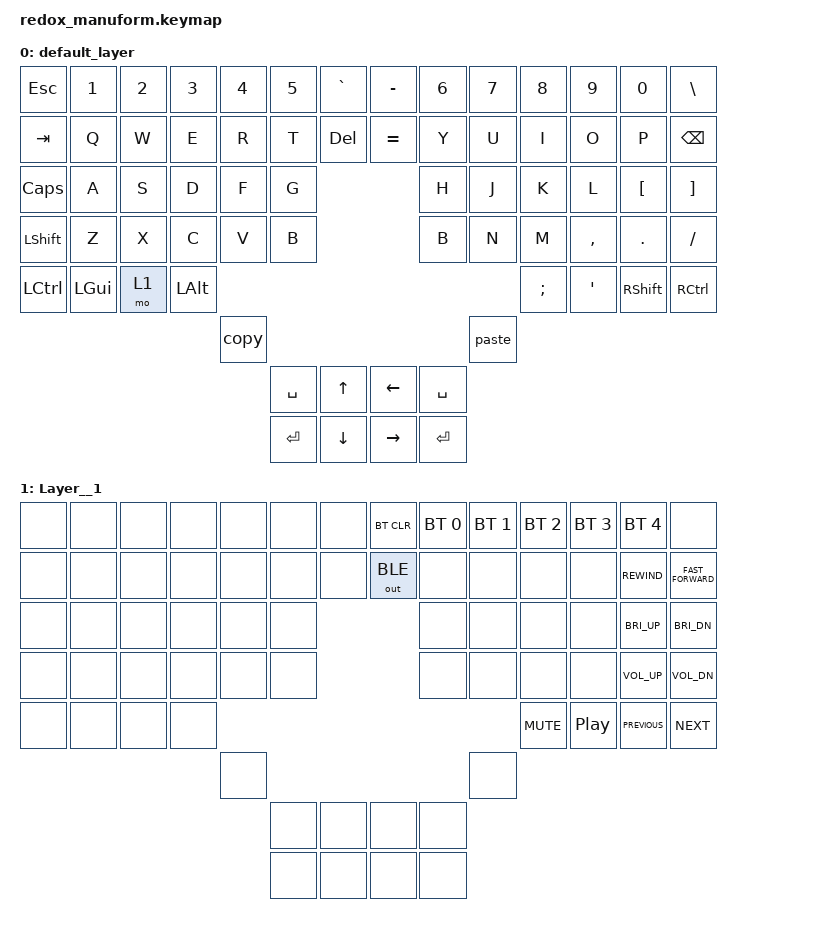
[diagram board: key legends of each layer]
/*
 * Copyright (c) 2021 The ZMK Contributors
 *
 * SPDX-License-Identifier: MIT
 */

#include <behaviors.dtsi>
#include <dt-bindings/zmk/bt.h>
#include <dt-bindings/zmk/keys.h>
#include <dt-bindings/zmk/outputs.h>

/ {
    macros {
        copy: copy {
            label = "fuzhi";
            compatible = "zmk,behavior-macro";
            #binding-cells = <0>;
            bindings =
                <&macro_press>,
                <&kp LEFT_GUI>,
                <&macro_tap>,
                <&kp C>,
                <&macro_release>,
                <&kp LEFT_GUI>;
        };
        cut: cut {
            compatible = "zmk,behavior-macro";
            label = "jianqie";
            #binding-cells = <0>;
            bindings =
                <&macro_press>,
                <&kp LCTRL>,
                <&macro_tap>,
                <&kp X>,
                <&macro_release>,
                <&kp LCTRL>;
        };
        paste: paste {
            compatible = "zmk,behavior-macro";
            label = "zhantie";
            #binding-cells = <0>;
            bindings =
                <&macro_press>,
                <&kp LEFT_GUI>,
                <&macro_tap>,
                <&kp V>,
                <&macro_release>,
                <&kp LEFT_GUI>;
        };
        all: all {
            compatible = "zmk,behavior-macro";
            label = "quanxuan";
            #binding-cells = <0>;
            bindings =
                <&macro_press>,
                <&kp LCTRL>,
                <&macro_tap>,
                <&kp A>,
                <&macro_release>,
                <&kp LCTRL>;
        };
        home: home {
            compatible = "zmk,behavior-macro";
            label = "zhuomian";
            #binding-cells = <0>;
            bindings =
                <&macro_press>,
                <&kp LEFT_GUI>,
                <&macro_tap>,
                <&kp D>,
                <&macro_release>,
                <&kp LEFT_GUI>;
        };
        print: print {
            compatible = "zmk,behavior-macro";
            label = "jietu";
            #binding-cells = <0>;
            bindings =
                <&macro_press>,
                <&kp LEFT_GUI &kp LSHFT>,
                <&macro_tap>,
                <&kp S>,
                <&macro_release>,
                <&kp LEFT_GUI &kp LSHFT>;
        };
    };

    keymap {
        compatible = "zmk,keymap";

        default_layer {
            // --------------------------------------------------------------------------------------------------------------------------------
            // | ESC   |  1  |  2  |   3   |  4  |  5  |   (   |           ---           |  )    |  6  |  7  |  8    |  9   | 0  |    BKSP   |
            // | TAB   |  Q  |  W  |   E   |  R  |  T  |   [   |           ---           |  ]    |  Y  |  U  |  I    |  O   | P  |     -     |
            // | CTRL  |  A  |  S  |   D   |  F  |  G  |                   ---                   |  H  |  J  |  K    |  L   | ;  |     '     |
            // | SHIFT |  Z  |  X  |   C   |  V  |  B  |                   ---                   |  N  |  M  |  ,    |  .   | /  | SHFT(RET) |
            // | CRTL  | ALT | GUI | LOWER |                               ---                               | LEFT  | DOWN | UP |   RIGHT   |
            //                             |    GUI    |                   ---                   |   RAISE   |
            //                             |   PG_up   | SPACE |           ---           |  HOME |   SPACE   |   
            //                             |   PG_DOWN | LOWER |           ---           |  DEL  |   END     |

            bindings = <
     &kp ESC        &kp N1  &kp N2    &kp N3  &kp N4     &kp N5   &kp GRAVE  &kp MINUS     &kp N6  &kp N7    &kp N8     &kp N9           &kp N0       &kp BSLH
     &kp TAB         &kp Q   &kp W     &kp E   &kp R      &kp T  &kp DELETE  &kp EQUAL      &kp Y   &kp U     &kp I      &kp O            &kp P  &kp BACKSPACE
&kp CAPSLOCK         &kp A   &kp S     &kp D   &kp F      &kp G                             &kp H   &kp J     &kp K      &kp L         &kp LBKT       &kp RBKT
   &kp LSHFT         &kp Z   &kp X     &kp C   &kp V      &kp B                             &kp B   &kp N     &kp M  &kp COMMA          &kp DOT       &kp FSLH
   &kp LCTRL  &kp LEFT_GUI   &mo 1  &kp LALT                                                               &kp SEMI    &kp SQT  &kp RIGHT_SHIFT      &kp RCTRL
                                               &copy                                               &paste
                                                      &kp SPACE      &kp UP   &kp LEFT  &kp SPACE
                                                      &kp ENTER    &kp DOWN  &kp RIGHT  &kp ENTER
            >;
        };

        Layer__1 {
            bindings = <
&none  &none  &none  &none  &none  &none  &none    &bt BT_CLR  &bt BT_SEL 0  &bt BT_SEL 1  &bt BT_SEL 2      &bt BT_SEL 3    &bt BT_SEL 4               &none
&none  &none  &none  &none  &none  &none  &none  &out OUT_BLE         &none         &none         &none             &none    &kp C_REWIND  &kp C_FAST_FORWARD
&none  &none  &none  &none  &none  &none                              &none         &none         &none             &none    &kp C_BRI_UP        &kp C_BRI_DN
&none  &none  &none  &none  &none  &none                              &none         &none         &none             &none    &kp C_VOL_UP        &kp C_VOL_DN
&none  &none  &none  &none                                                                   &kp C_MUTE  &kp C_PLAY_PAUSE  &kp C_PREVIOUS          &kp C_NEXT
                            &none                                                   &none
                                   &none  &none         &none         &none
                                   &none  &none         &none         &none
            >;
        };
    };
};
